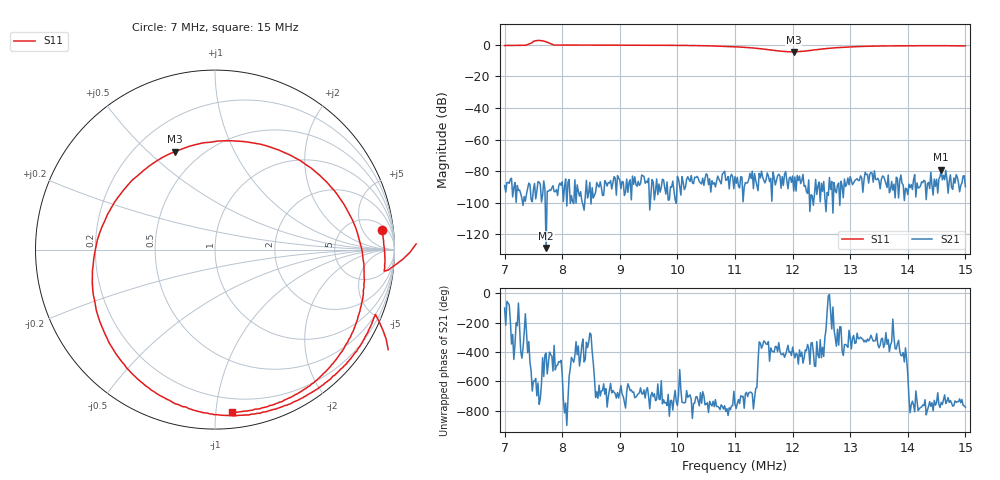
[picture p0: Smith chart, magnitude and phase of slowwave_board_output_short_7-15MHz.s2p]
! Measured S11/S21; S12/S22 are placeholders, NOT measurements. Calibration unverified.
! [Saver CAL applied] C:\Users\aknya\MyProjects\rf-simulator\calibration2.cal | Ideal standards assumed | Input: NanoVNA F V2 profile | COM3 | 2026-10-04T11:28:21.8501836-04:00 | device calibration unverified
# HZ S RI R 50
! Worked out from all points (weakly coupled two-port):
!   401 points, 7 MHz to 15 MHz, reference 50 ohm
!   highest |S21| = -79.13 dB at 14.58 MHz (marker M1); lowest = -128.4 dB at 7.72 MHz (marker M2)
!   lowest |S11| = -4.6 dB at 12.02 MHz (marker M3), VSWR 3.87, Z = 18.2 + j30.5 ohm
!   |S11| at or under -10 dB: nowhere
!   S12 and S22 are empty: the file has one direction only
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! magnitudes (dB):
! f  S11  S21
! 7 MHz  -0.6  -89.1
! 7.36 MHz  -0.4  -98.9
! 7.42 MHz  0.4  -87.5
! 7.54 MHz  2.4  -97.5
! 7.58 MHz  2.6  -86.6
! 7.64 MHz  2.5  -99.5
! 7.72 MHz  1.8  -128.4
! 7.88 MHz  -0.3  -92.9
! 8.34 MHz  -0.3  -98.6
! 9.68 MHz  -0.4  -88.1
! 10.44 MHz  -0.7  -84.4
! 11 MHz  -1.4  -83.4
! 11.4 MHz  -2.4  -92.3
! 11.86 MHz  -4.4  -81.9
! 12.02 MHz  -4.6  -92.6
! 12.16 MHz  -4.3  -85.9
! 12.34 MHz  -3.5  -95.5
! 12.6 MHz  -2.5  -93.5
! 12.88 MHz  -1.7  -96.8
! 13.68 MHz  -0.8  -93.6
! 14.58 MHz  -0.7  -79.1
! 15 MHz  -0.8  -89.8
